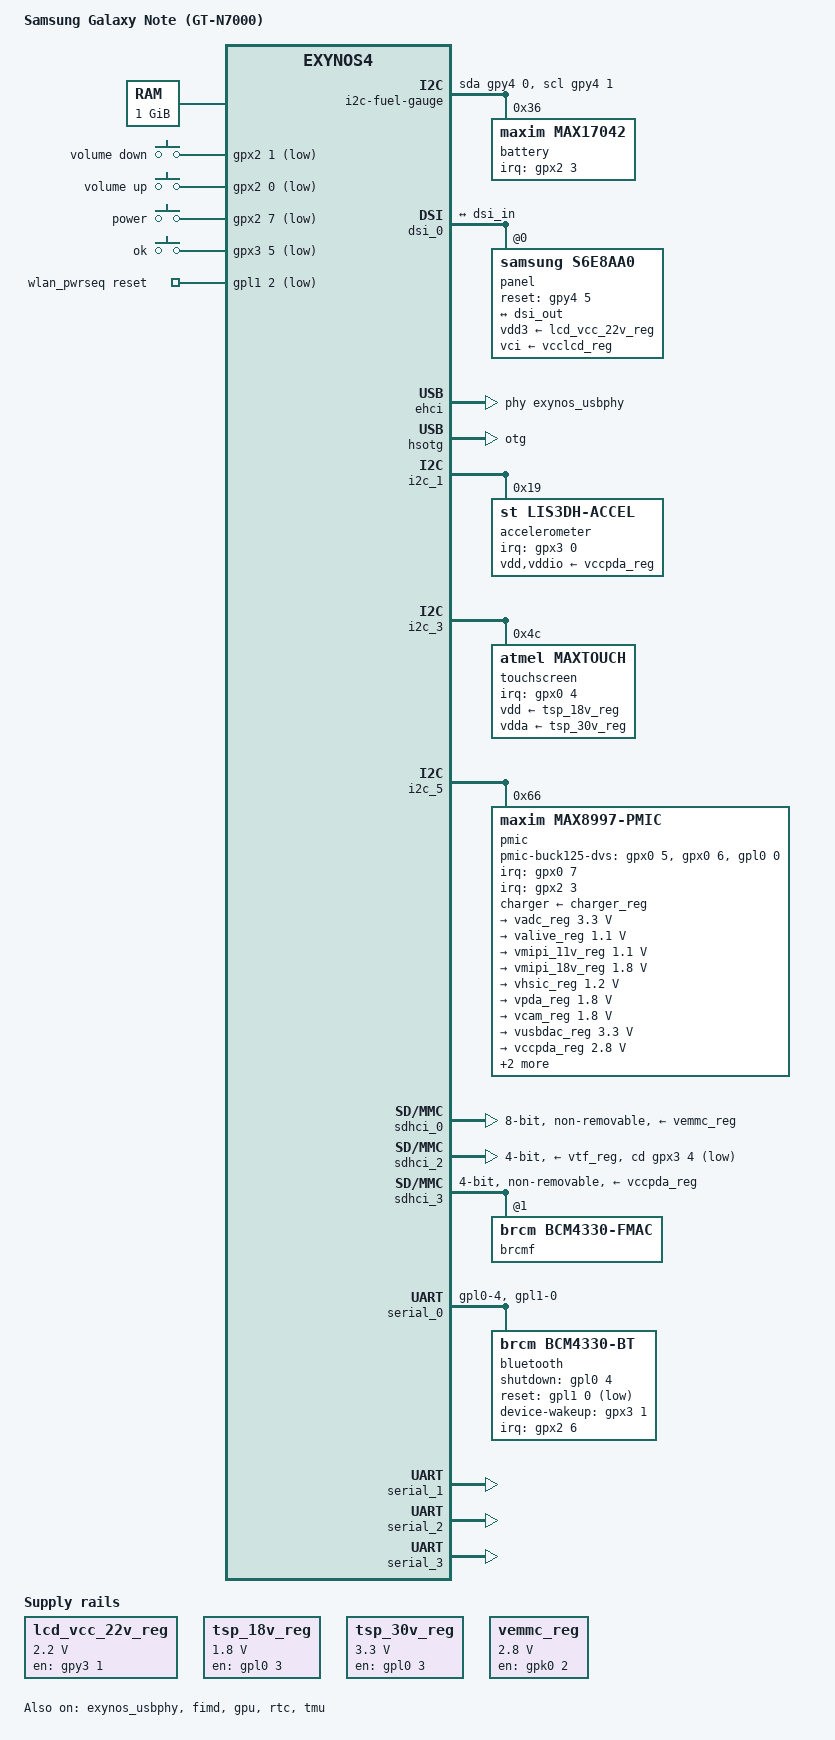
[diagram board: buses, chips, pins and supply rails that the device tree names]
// SPDX-License-Identifier: GPL-2.0
/*
 * Samsung's Exynos4210 based Galaxy Note device tree
 *
 * Copyright (c) 2012 Samsung Electronics Co., Ltd.
 *		http://www.samsung.com
 */

/dts-v1/;
#include "exynos4210.dtsi"
#include "exynos4412-ppmu-common.dtsi"

#include <dt-bindings/gpio/gpio.h>
#include <dt-bindings/input/linux-event-codes.h>

/ {
	model = "Samsung Galaxy Note (GT-N7000)";
	compatible = "samsung,n7000", "samsung,exynos4210", "samsung,exynos4";
	chassis-type = "handset";

	memory@40000000 {
		device_type = "memory";
		reg = <0x40000000 0x40000000>;
	};

	aliases {
		mmc0 = &sdhci_0;
		mmc1 = &sdhci_2;
		mmc2 = &sdhci_3;
	};

	chosen {
		stdout-path = "serial2:115200n8";
	};

	fixed-rate-clocks {
		xxti {
			compatible = "samsung,clock-xxti";
			clock-frequency = <0>;
		};

		xusbxti {
			compatible = "samsung,clock-xusbxti";
			clock-frequency = <24000000>;
		};

		pmic_ap_clk: pmic-ap-clk {
			/* Workaround for missing clock on max8997 PMIC */
			compatible = "fixed-clock";
			#clock-cells = <0>;
			clock-frequency = <32768>;
		};
	};

	gpio-keys {
		compatible = "gpio-keys";

		key-vol-down {
			gpios = <&gpx2 1 GPIO_ACTIVE_LOW>;
			linux,code = <KEY_VOLUMEDOWN>;
			label = "volume down";
			debounce-interval = <10>;
		};

		key-vol-up {
			gpios = <&gpx2 0 GPIO_ACTIVE_LOW>;
			linux,code = <KEY_VOLUMEUP>;
			label = "volume up";
			debounce-interval = <10>;
		};

		key-power {
			gpios = <&gpx2 7 GPIO_ACTIVE_LOW>;
			linux,code = <KEY_POWER>;
			label = "power";
			debounce-interval = <10>;
			wakeup-source;
		};

		key-ok {
			gpios = <&gpx3 5 GPIO_ACTIVE_LOW>;
			linux,code = <KEY_OK>;
			label = "ok";
			debounce-interval = <10>;
		};
	};

	i2c-fuel-gauge {
		compatible = "i2c-gpio";
		#address-cells = <1>;
		#size-cells = <0>;

		sda-gpios = <&gpy4 0 (GPIO_ACTIVE_HIGH | GPIO_OPEN_DRAIN)>;
		scl-gpios = <&gpy4 1 (GPIO_ACTIVE_HIGH | GPIO_OPEN_DRAIN)>;
		i2c-gpio,delay-us = <5>;

		battery@36 {
			compatible = "maxim,max17042";

			interrupts-extended = <&gpx2 3 IRQ_TYPE_LEVEL_LOW>;

			pinctrl-0 = <&max17042_fuel_irq>;
			pinctrl-names = "default";

			reg = <0x36>;
			maxim,over-heat-temp = <700>;
			maxim,over-volt = <4500>;
		};
	};

	lcd_vcc_22v_reg: regulator-lcd-vcc-22v {
		compatible = "regulator-fixed";
		regulator-name = "LCD_2.2V";
		regulator-min-microvolt = <2200000>;
		regulator-max-microvolt = <2200000>;
		gpio = <&gpy3 1 GPIO_ACTIVE_HIGH>;
		enable-active-high;
	};

	tsp_18v_reg: regulator-tsp-18v {
		compatible = "regulator-fixed";
		regulator-name = "TSP_FIXED_VOLTAGES_1.8V";
		regulator-min-microvolt = <1800000>;
		regulator-max-microvolt = <1800000>;
		gpio = <&gpl0 3 GPIO_ACTIVE_HIGH>;
		startup-delay-us = <70000>;
		enable-active-high;
		regulator-boot-on;
	};

	tsp_30v_reg: regulator-tsp-33v {
		compatible = "regulator-fixed";
		regulator-name = "TSP_FIXED_VOLTAGES_3.0V";
		regulator-min-microvolt = <3300000>;
		regulator-max-microvolt = <3300000>;
		gpio = <&gpl0 3 GPIO_ACTIVE_HIGH>;
		startup-delay-us = <70000>;
		enable-active-high;
		regulator-boot-on;
	};

	vemmc_reg: regulator-vemmc {
		compatible = "regulator-fixed";
		regulator-name = "VMEM_VDD_2.8V";
		regulator-min-microvolt = <2800000>;
		regulator-max-microvolt = <2800000>;
		gpio = <&gpk0 2 GPIO_ACTIVE_HIGH>;
		enable-active-high;
	};

	wlan_pwrseq: sdhci3-pwrseq {
		compatible = "mmc-pwrseq-simple";
		reset-gpios = <&gpl1 2 GPIO_ACTIVE_LOW>;
	};
};

&cpu0 {
	cpu0-supply = <&varm_breg>;
};

&cpu_thermal {
	cooling-maps {
		map0 {
			/* Corresponds to 800MHz */
			cooling-device = <&cpu0 2 2>;
		};

		map1 {
			/* Corresponds to 200MHz */
			cooling-device = <&cpu0 4 4>;
		};
	};
};

&dsi_0 {
	vddcore-supply = <&vmipi_11v_reg>;
	vddio-supply = <&vmipi_18v_reg>;
	samsung,burst-clock-frequency = <500000000>;
	samsung,esc-clock-frequency = <20000000>;
	samsung,pll-clock-frequency = <24000000>;

	status = "okay";

	ports {
		#address-cells = <1>;
		#size-cells = <0>;

		port@1 {
			reg = <1>;

			dsi_out: endpoint@0 {
				samsung,burst-clock-frequency = <500000000>;
				samsung,esc-clock-frequency = <20000000>;
				remote-endpoint = <&dsi_in>;
			};
		};
	};

	panel@0 {
		compatible = "samsung,s6e8aa0";
		reg = <0>;
		vdd3-supply = <&lcd_vcc_22v_reg>;
		vci-supply = <&vcclcd_reg>;
		reset-gpios = <&gpy4 5 GPIO_ACTIVE_HIGH>;
		power-on-delay = <50>;
		reset-delay = <100>;
		init-delay = <100>;
		panel-width-mm = <64>;
		panel-height-mm = <106>;

		display-timings {
			timing-0 {
				clock-frequency = <57153600>;
				hactive = <800>;
				vactive = <1280>;
				hfront-porch = <10>;
				hback-porch = <10>;
				hsync-len = <10>;
				vfront-porch = <13>;
				vback-porch = <1>;
				vsync-len = <2>;
			};
		};

		port {
			dsi_in: endpoint {
				remote-endpoint = <&dsi_out>;
			};
		};
	};
};

&ehci {
	phys = <&exynos_usbphy 1>;
	phy-names = "host";

	status = "okay";
};

&exynos_usbphy {
	vbus-supply = <&safe1_sreg>;

	status = "okay";
};

&fimd {
	status = "okay";
};

&gpu {
	mali-supply = <&vg3d_breg>;

	status = "okay";
};

&hsotg {
	dr_mode = "otg";
	vusb_d-supply = <&vusb_reg>;
	vusb_a-supply = <&vusbdac_reg>;

	status = "okay";
};

&i2c_1 {
	samsung,i2c-sda-delay = <100>;
	samsung,i2c-slave-addr = <0x10>;
	samsung,i2c-max-bus-freq = <100000>;

	status = "okay";

	accelerometer@19 {
		compatible = "st,lis3dh-accel";
		reg = <0x19>;

		vdd-supply = <&vccpda_reg>;
		vddio-supply = <&vccpda_reg>;

		interrupts-extended = <&gpx3 0 IRQ_TYPE_LEVEL_HIGH>;

		st,drdy-int-pin = <1>;

		mount-matrix = "0", "1", "0",
			       "1", "0", "0",
			       "0", "0", "1";

		pinctrl-0 = <&accel_int>;
		pinctrl-names = "default";
	};
};

&i2c_3 {
	samsung,i2c-sda-delay = <100>;
	samsung,i2c-slave-addr = <0x10>;
	samsung,i2c-max-bus-freq = <100000>;

	status = "okay";

	touchscreen@4c {
		compatible = "atmel,maxtouch";
		reg = <0x4c>;

		vdd-supply = <&tsp_18v_reg>;
		vdda-supply = <&tsp_30v_reg>;

		interrupts-extended = <&gpx0 4 IRQ_TYPE_EDGE_FALLING>;

		pinctrl-0 = <&tsp540e_irq>;
		pinctrl-names = "default";
	};
};

&i2c_5 {
	samsung,i2c-sda-delay = <100>;
	samsung,i2c-slave-addr = <0x10>;
	samsung,i2c-max-bus-freq = <100000>;

	status = "okay";

	pmic@66 {
		compatible = "maxim,max8997-pmic";
		reg = <0x66>;

		interrupts-extended = <&gpx0 7 IRQ_TYPE_NONE>,
				      <&gpx2 3 IRQ_TYPE_EDGE_FALLING>;

		max8997,pmic-buck1-uses-gpio-dvs;
		max8997,pmic-buck2-uses-gpio-dvs;
		max8997,pmic-buck5-uses-gpio-dvs;

		max8997,pmic-ignore-gpiodvs-side-effect;
		max8997,pmic-buck125-default-dvs-idx = <0>;

		max8997,pmic-buck125-dvs-gpios = <&gpx0 5 GPIO_ACTIVE_HIGH>,
						 <&gpx0 6 GPIO_ACTIVE_HIGH>,
						 <&gpl0 0 GPIO_ACTIVE_HIGH>;

		max8997,pmic-buck1-dvs-voltage = <1350000>, <1300000>,
						 <1250000>, <1200000>,
						 <1150000>, <1100000>,
						 <1000000>, <950000>;

		max8997,pmic-buck2-dvs-voltage = <1100000>, <1000000>,
						 <950000>,  <900000>,
						 <1100000>, <1000000>,
						 <950000>,  <900000>;

		max8997,pmic-buck5-dvs-voltage = <1200000>, <1200000>,
						 <1200000>, <1200000>,
						 <1200000>, <1200000>,
						 <1200000>, <1200000>;

		pinctrl-0 = <&max8997_irq>, <&otg_gp>, <&usb_sel>;
		pinctrl-names = "default";

		charger-supply = <&charger_reg>;

		regulators {
			vadc_reg: LDO1 {
				regulator-name = "VADC_3.3V_C210";
				regulator-min-microvolt = <3300000>;
				regulator-max-microvolt = <3300000>;
				regulator-always-on;
			};

			valive_reg: LDO2 {
				regulator-name = "VALIVE_1.1V_C210";
				regulator-min-microvolt = <1100000>;
				regulator-max-microvolt = <1100000>;
				regulator-always-on;
			};

			vmipi_11v_reg: vusb_reg: LDO3 {
				regulator-name = "VMIPI+VUSB_1.1V_C210";
				regulator-min-microvolt = <1100000>;
				regulator-max-microvolt = <1100000>;
			};

			vmipi_18v_reg: LDO4 {
				regulator-name = "VMIPI_1.8V";
				regulator-min-microvolt = <1800000>;
				regulator-max-microvolt = <1800000>;
			};

			vhsic_reg: LDO5 {
				regulator-name = "VHSIC_1.2V";
				regulator-min-microvolt = <1200000>;
				regulator-max-microvolt = <1200000>;
				regulator-always-on;
			};

			vpda_reg: LDO6 {
				regulator-name = "VCC_1.8V_PDA";
				regulator-min-microvolt = <1800000>;
				regulator-max-microvolt = <1800000>;
				regulator-always-on;
			};

			vcam_reg: LDO7 {
				regulator-name = "CAM_ISP_1.8V";
				regulator-min-microvolt = <1800000>;
				regulator-max-microvolt = <1800000>;
			};

			vusbdac_reg: LDO8 {
				regulator-name = "VUSB+VDAC_3.3V_C210";
				regulator-min-microvolt = <3300000>;
				regulator-max-microvolt = <3300000>;
			};

			vccpda_reg: LDO9 {
				regulator-name = "VCC_2.8V_PDA";
				regulator-min-microvolt = <2800000>;
				regulator-max-microvolt = <2800000>;
			};

			vpll_reg: LDO10 {
				regulator-name = "VPLL_1.1V";
				regulator-min-microvolt = <1100000>;
				regulator-max-microvolt = <1100000>;
				regulator-always-on;
			};

			vtouch_reg: LDO11 {
				regulator-name = "TOUCH_2.8V";
				regulator-min-microvolt = <2800000>;
				regulator-max-microvolt = <2800000>;
			};

			vtcam_reg: LDO12 {
				regulator-name = "VT_CAM_1.8V";
				regulator-min-microvolt = <1800000>;
				regulator-max-microvolt = <1800000>;
			};

			vcclcd_reg: LDO13 {
				regulator-name = "VCC_3.1V_LCD";
				regulator-min-microvolt = <3100000>;
				regulator-max-microvolt = <3100000>;
			};

			vlcd_reg: LDO14 {
				regulator-name = "VLCD_2.2V";
				regulator-min-microvolt = <2200000>;
				regulator-max-microvolt = <2200000>;
			};

			vled_reg: LDO15 {
				regulator-name = "LED_A_2.8V";
				regulator-min-microvolt = <2800000>;
				regulator-max-microvolt = <2800000>;
			};

			camsensor_reg: LDO16 {
				regulator-name = "CAM_SENSOR_IO_1.8V";
				regulator-min-microvolt = <1800000>;
				regulator-max-microvolt = <1800000>;
			};

			vtf_reg: LDO17 {
				regulator-name = "VTF_2.8V";
				regulator-min-microvolt = <2800000>;
				regulator-max-microvolt = <2800000>;
			};

			vtouchled_reg: LDO18 {
				regulator-name = "TOUCH_LED_3.3V";
				regulator-min-microvolt = <3300000>;
				regulator-max-microvolt = <3300000>;
			};

			vddq_reg: LDO21 {
				regulator-name = "VDDQ_M1M2_1.2V";
				regulator-min-microvolt = <1200000>;
				regulator-max-microvolt = <1200000>;
				regulator-always-on;
			};

			varm_breg: BUCK1 {
				regulator-name = "VARM_1.2V_C210";
				regulator-min-microvolt = <65000>;
				regulator-max-microvolt = <2225000>;
				regulator-always-on;
			};

			vint_breg: BUCK2 {
				regulator-name = "VINT_1.1V_C210";
				regulator-min-microvolt = <65000>;
				regulator-max-microvolt = <2225000>;
				regulator-always-on;
			};

			vg3d_breg: BUCK3 {
				regulator-name = "G3D_1.1V";
				regulator-min-microvolt = <900000>;
				regulator-max-microvolt = <1200000>;
				regulator-microvolt-offset = <50000>;
				regulator-always-on;
			};

			camisp_breg: BUCK4 {
				regulator-name = "CAM_ISP_CORE_1.2V";
				regulator-min-microvolt = <1200000>;
				regulator-max-microvolt = <1200000>;
			};

			vmem_breg: BUCK5 {
				regulator-name = "VMEM_1.2V";
				regulator-min-microvolt = <1200000>;
				regulator-max-microvolt = <1200000>;
				regulator-always-on;
			};

			vccsub_breg: BUCK7 {
				regulator-name = "VCC_SUB_2.0V";
				regulator-min-microvolt = <2000000>;
				regulator-max-microvolt = <2000000>;
				regulator-always-on;
			};

			safe1_sreg: ESAFEOUT1 {
				regulator-name = "SAFEOUT1";
			};

			safe2_sreg: ESAFEOUT2 {
				regulator-name = "SAFEOUT2";
				regulator-boot-on;
			};

			EN32KHZ_AP {
				regulator-name = "EN32KHZ_AP";
				regulator-always-on;
			};

			EN32KHZ_CP {
				regulator-name = "EN32KHZ_CP";
				regulator-always-on;
			};

			charger_reg: CHARGER {
				regulator-name = "CHARGER";
				regulator-min-microamp = <200000>;
				regulator-max-microamp = <950000>;
			};

			chargercv_reg: CHARGER_CV {
				regulator-name = "CHARGER_CV";
				regulator-min-microvolt = <4200000>;
				regulator-max-microvolt = <4200000>;
				regulator-always-on;
			};

			CHARGER_TOPOFF {
				regulator-name = "CHARGER_TOPOFF";
				regulator-min-microamp = <200000>;
				regulator-max-microamp = <200000>;
				regulator-always-on;
			};
		};
	};
};

&pinctrl_0 {
	pinctrl-0 = <&sleep0>;
	pinctrl-names = "default";

	sleep0: sleep-state {
		gpa0-0-pin {
			samsung,pins = "gpa0-0";
			samsung,pin-con-pdn = <EXYNOS_PIN_PDN_INPUT>;
			samsung,pin-pud-pdn = <EXYNOS_PIN_PULL_NONE>;
		};

		gpa0-1-pin {
			samsung,pins = "gpa0-1";
			samsung,pin-con-pdn = <EXYNOS_PIN_PDN_OUT0>;
			samsung,pin-pud-pdn = <EXYNOS_PIN_PULL_NONE>;
		};

		gpa0-2-pin {
			samsung,pins = "gpa0-2";
			samsung,pin-con-pdn = <EXYNOS_PIN_PDN_INPUT>;
			samsung,pin-pud-pdn = <EXYNOS_PIN_PULL_NONE>;
		};

		gpa0-3-pin {
			samsung,pins = "gpa0-3";
			samsung,pin-con-pdn = <EXYNOS_PIN_PDN_OUT1>;
			samsung,pin-pud-pdn = <EXYNOS_PIN_PULL_NONE>;
		};
	};
};

&pinctrl_1 {
	accel_int: accel-int-pins {
		samsung,pins = "gpx3-0";
		samsung,pin-pud = <EXYNOS_PIN_PULL_NONE>;
	};

	usb_sel: usb-sel-pins {
		samsung,pins = "gpl0-6";
		samsung,pin-function = <EXYNOS_PIN_FUNC_OUTPUT>;
		samsung,pin-pud = <EXYNOS_PIN_PULL_NONE>;
		samsung,pin-drv = <EXYNOS4_PIN_DRV_LV1>;
		samsung,pin-val = <0>;
	};

	bt_en: bt-en-pins {
		samsung,pins = "gpl0-4";
		samsung,pin-function = <EXYNOS_PIN_FUNC_OUTPUT>;
		samsung,pin-pud = <EXYNOS_PIN_PULL_NONE>;
		samsung,pin-drv = <EXYNOS4_PIN_DRV_LV4>;
		samsung,pin-val = <0>;
	};

	bt_res: bt-res-pins {
		samsung,pins = "gpl1-0";
		samsung,pin-function = <EXYNOS_PIN_FUNC_OUTPUT>;
		samsung,pin-pud = <EXYNOS_PIN_PULL_NONE>;
		samsung,pin-drv = <EXYNOS4_PIN_DRV_LV4>;
		samsung,pin-val = <0>;
	};

	otg_gp: otg-gp-pins {
		samsung,pins = "gpx3-3";
		samsung,pin-function = <EXYNOS_PIN_FUNC_OUTPUT>;
		samsung,pin-pud = <EXYNOS_PIN_PULL_NONE>;
		samsung,pin-drv = <EXYNOS4_PIN_DRV_LV1>;
		samsung,pin-val = <0>;
	};

	max8997_irq: max8997-irq-pins {
		samsung,pins = "gpx0-7";
		samsung,pin-pud = <EXYNOS_PIN_PULL_NONE>;
	};

	max17042_fuel_irq: max17042-fuel-irq-pins {
		samsung,pins = "gpx2-3";
		samsung,pin-pud = <EXYNOS_PIN_PULL_NONE>;
	};

	tsp540e_irq: tsp540e-irq-pins {
		samsung,pins = "gpx0-4";
		samsung,pin-pud = <EXYNOS_PIN_PULL_UP>;
	};
};

&rtc {
	clocks = <&clock CLK_RTC>, <&pmic_ap_clk>;
	clock-names = "rtc", "rtc_src";

	status = "okay";
};

&sdhci_0 {
	bus-width = <8>;
	non-removable;
	vmmc-supply = <&vemmc_reg>;

	pinctrl-0 = <&sd0_clk>, <&sd0_cmd>, <&sd0_bus8>;
	pinctrl-names = "default";

	status = "okay";
};

&sdhci_2 {
	bus-width = <4>;
	cd-gpios = <&gpx3 4 GPIO_ACTIVE_LOW>;
	vmmc-supply = <&vtf_reg>;

	pinctrl-0 = <&sd2_clk>, <&sd2_cmd>, <&sd2_bus4>;
	pinctrl-names = "default";

	status = "okay";
};

&sdhci_3 {
	#address-cells = <1>;
	#size-cells = <0>;

	non-removable;
	bus-width = <4>;
	mmc-pwrseq = <&wlan_pwrseq>;
	vmmc-supply = <&vccpda_reg>;

	pinctrl-0 = <&sd3_clk>, <&sd3_cmd>, <&sd3_bus4>;
	pinctrl-names = "default";

	status = "okay";

	brcmf: wifi@1 {
		compatible = "brcm,bcm4330-fmac", "brcm,bcm4329-fmac";
		reg = <1>;

		/* Drop interrupts to workaround CPU load
		interrupts-extended = <&gpx2 5 IRQ_TYPE_NONE>;
		interrupt-names = "host-wake";
		*/
	};
};

&serial_0 {
	pinctrl-0 = <&bt_en>, <&bt_res>, <&uart0_data>, <&uart0_fctl>;
	pinctrl-names = "default";

	status = "okay";

	bluetooth {
		compatible = "brcm,bcm4330-bt";

		shutdown-gpios = <&gpl0 4 GPIO_ACTIVE_HIGH>;
		reset-gpios = <&gpl1 0 GPIO_ACTIVE_LOW>;
		device-wakeup-gpios = <&gpx3 1 GPIO_ACTIVE_HIGH>;

		interrupts-extended = <&gpx2 6 IRQ_TYPE_EDGE_FALLING>;
		interrupt-names = "host-wakeup";
	};
};

&serial_1 {
	status = "okay";
};

&serial_2 {
	status = "okay";
};

&serial_3 {
	status = "okay";
};

&tmu {
	status = "okay";
};
